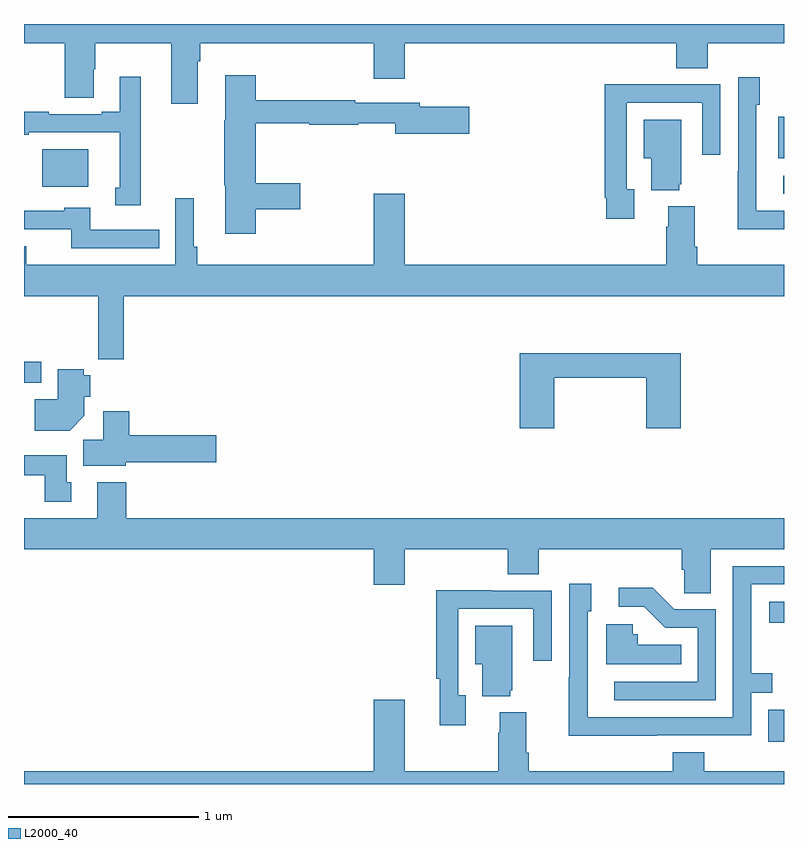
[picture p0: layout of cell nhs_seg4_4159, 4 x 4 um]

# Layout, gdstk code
import gdstk
lib = gdstk.Library(unit=1e-6, precision=1e-09)
def R(c, l, rs):  # rectangles x0, y0, x1, y1
    for r in rs: c.add(gdstk.rectangle(r[:2], r[2:], *l))
def P(c, l, *ps):  # polygons
    for p in ps: c.add(gdstk.Polygon(p, *l))
L2000_40 = (2000, 40)

nhs_seg4_4159 = lib.new_cell('nhs_seg4_4159')
R(nhs_seg4_4159, L2000_40, [(334.917,813.123,335,813.291), (334.923,813.749,335,813.859), (331,815.013,331.09,815.122), (334.995,816.006,335,816.102), (331.097,816.044,331.339,816.241), (334.97,816.194,335,816.413)])
P(nhs_seg4_4159, L2000_40, [(331.915,816.704),(331.928,816.704),(331.928,816.8),(332.84,816.8),(332.84,816.612),(333.004,816.612),(333.004,816.8),(334.433,816.8),(334.433,816.667),(334.598,816.667),(334.598,816.8),(335,816.8),(335,816.9),(331,816.9),(331,816.8),(331.214,816.8),(331.214,816.511),(331.366,816.511),(331.366,816.662),(331.374,816.662),(331.374,816.8),(331.775,816.8),(331.775,816.48),(331.915,816.48)],
  [(332.219,815.926),(332.455,815.926),(332.455,816.063),(332.219,816.063),(332.219,816.378),(332.502,816.378),(332.502,816.37),(332.758,816.37),(332.758,816.378),(332.954,816.378),(332.954,816.323),(333.343,816.323),(333.343,816.465),(333.082,816.465),(333.082,816.486),(332.744,816.486),(332.744,816.499),(332.219,816.499),(332.219,816.631),(332.06,816.631),(332.06,816.393),(332.053,816.393),(332.053,816.051),(332.06,816.051),(332.06,815.796),(332.219,815.796)],
  [(331.615,816.622),(331.505,816.622),(331.505,816.439),(331.409,816.439),(331.409,816.426),(331.13,816.426),(331.13,816.439),(331,816.439),(331,816.318),(331.024,816.318),(331.024,816.33),(331.505,816.33),(331.505,816.039),(331.481,816.039),(331.481,815.945),(331.615,815.945)],
  [(335,815.916),(334.854,815.916),(334.854,816.474),(334.873,816.474),(334.873,816.619),(334.758,816.619),(334.758,816.125),(334.756,816.125),(334.756,815.819),(335,815.819)],
  [(334.213,816.03),(334.173,816.03),(334.173,816.486),(334.569,816.486),(334.569,816.213),(334.665,816.213),(334.665,816.582),(334.349,816.582),(334.349,816.584),(334.057,816.584),(334.057,815.986),(334.065,815.986),(334.065,815.874),(334.213,815.874)],
  [(334.448,816.057),(334.459,816.057),(334.459,816.397),(334.262,816.397),(334.262,816.194),(334.301,816.194),(334.301,816.026),(334.448,816.026)],
  [(331.526,815.468),(335,815.468),(335,815.632),(334.544,815.632),(334.544,815.728),(334.531,815.728),(334.531,815.941),(334.391,815.941),(334.391,815.834),(334.379,815.834),(334.379,815.632),(333.004,815.632),(333.004,816.007),(332.84,816.007),(332.84,815.632),(331.913,815.632),(331.913,815.728),(331.894,815.728),(331.894,815.983),(331.797,815.983),(331.797,815.632),(331.012,815.632),(331.012,815.731),(331,815.731),(331,815.468),(331.39,815.468),(331.39,815.136),(331.526,815.136)],
  [(331.712,815.817),(331.348,815.817),(331.348,815.932),(331.212,815.932),(331.212,815.916),(331,815.916),(331,815.82),(331.249,815.82),(331.249,815.721),(331.712,815.721)],
  [(333.791,815.038),(334.274,815.038),(334.274,814.773),(334.457,814.773),(334.457,815.167),(333.608,815.167),(333.608,814.773),(333.791,814.773)],
  [(331.318,814.838),(331.318,814.938),(331.349,814.938),(331.349,815.052),(331.314,815.052),(331.314,815.082),(331.178,815.082),(331.178,814.924),(331.057,814.924),(331.057,814.76),(331.24,814.76)],
  [(331.536,814.594),(332.011,814.594),(332.011,814.736),(331.553,814.736),(331.553,814.861),(331.418,814.861),(331.418,814.712),(331.313,814.712),(331.313,814.574),(331.536,814.574)],
  [(331.249,814.488),(331.225,814.488),(331.225,814.63),(331,814.63),(331,814.526),(331.109,814.526),(331.109,814.386),(331.249,814.386)],
  [(334.615,814.136),(335,814.136),(335,814.3),(331.538,814.3),(331.538,814.489),(331.385,814.489),(331.385,814.3),(331,814.3),(331,814.136),(332.84,814.136),(332.84,813.948),(333.004,813.948),(333.004,814.136),(333.545,814.136),(333.545,814.003),(333.71,814.003),(333.71,814.136),(334.463,814.136),(334.463,814.027),(334.476,814.027),(334.476,813.904),(334.615,813.904)],
  [(334.331,813.156),(334.827,813.156),(334.827,813.381),(334.937,813.381),(334.937,813.482),(334.827,813.482),(334.827,813.951),(335,813.951),(335,814.047),(334.731,814.047),(334.731,813.252),(333.967,813.252),(333.967,813.473),(333.966,813.473),(333.966,813.81),(333.985,813.81),(333.985,813.955),(333.87,813.955),(333.87,813.461),(333.868,813.461),(333.868,813.155),(334.331,813.155)],
  [(334.641,813.819),(334.422,813.819),(334.309,813.932),(334.131,813.932),(334.131,813.834),(334.265,813.834),(334.376,813.723),(334.545,813.723),(334.545,813.438),(334.107,813.438),(334.107,813.342),(334.641,813.342)],
  [(333.325,813.366),(333.285,813.366),(333.285,813.822),(333.681,813.822),(333.681,813.549),(333.777,813.549),(333.777,813.918),(333.461,813.918),(333.461,813.92),(333.169,813.92),(333.169,813.454),(333.188,813.454),(333.188,813.21),(333.325,813.21)],
  [(334.46,813.634),(334.23,813.634),(334.23,813.687),(334.203,813.687),(334.203,813.742),(334.064,813.742),(334.064,813.53),(334.46,813.53)],
  [(333.56,813.393),(333.571,813.393),(333.571,813.733),(333.374,813.733),(333.374,813.53),(333.413,813.53),(333.413,813.362),(333.56,813.362)],
  [(335,812.968),(334.58,812.968),(334.58,813.067),(334.415,813.067),(334.415,812.968),(333.656,812.968),(333.656,813.064),(333.643,813.064),(333.643,813.277),(333.503,813.277),(333.503,813.17),(333.496,813.17),(333.496,812.968),(333.004,812.968),(333.004,813.343),(332.84,813.343),(332.84,812.968),(331,812.968),(331,812.9),(335,812.9)])

lib.write_gds('nhs_seg4_4159.gds')
